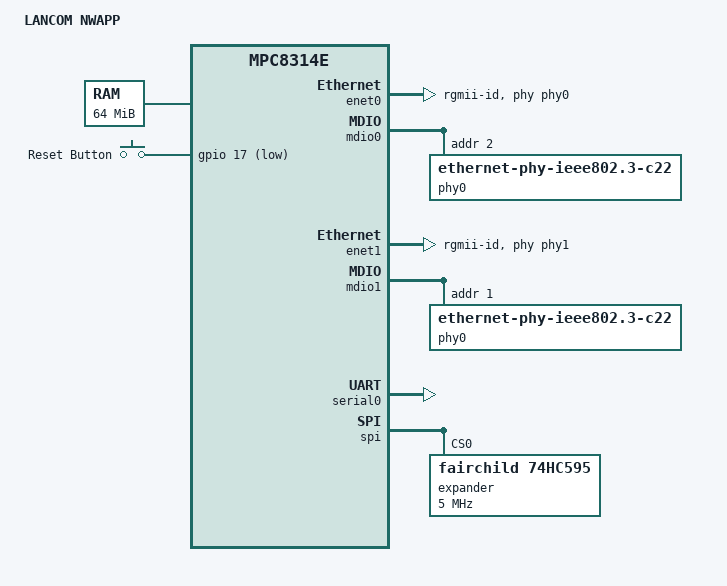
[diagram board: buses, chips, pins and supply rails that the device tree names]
// SPDX-License-Identifier: GPL-2.0-or-later
// Copyright 2026 J. Neuschäfer
//
// LANCOM NWAPP, marketed as:
// - L-320agn Wireless
// - L-321agn Wireless
// - L-322agn dual Wireless
#include "mpc8314e.dtsi"

#include <dt-bindings/gpio/gpio.h>
#include <dt-bindings/leds/common.h>
#include <dt-bindings/input/input.h>

/ {
	compatible = "lancom,nwapp", "fsl,mpc8314e";
	model = "LANCOM NWAPP";

	memory@0 {
		reg = <0x00000000 0x04000000>;	// 64MB at 0
	};

	aliases {
		serial0 = &serial0;
		pci1 = &pci1;
		pci2 = &pci2;
	};

	chosen {
		stdout-path = "serial0:115200n8";
	};

	/*
	gpio-restart {
		compatible = "gpio-restart";
		gpios = <&gpio 10 GPIO_ACTIVE_HIGH>;
	};
	*/

	gpio-keys {
		compatible = "gpio-keys";

		reset-button {
			label = "Reset Button";
			linux,code = <KEY_SETUP>;
			gpios = <&gpio 17 GPIO_ACTIVE_LOW>;
		};
	};

	/*
	gpio-leds {
		compatible = "gpio-leds";

		led_power_red: led-0 {
			label = "red:power";
			gpios = <&expander 0 GPIO_ACTIVE_HIGH>;
			color = <LED_COLOR_ID_RED>;
		};

		led_power_green: led-1 {
			label = "green:power";
			gpios = <&expander 1 GPIO_ACTIVE_HIGH>;
			color = <LED_COLOR_ID_GREEN>;
		};

		led_wlan_link_red: led-2 {
			label = "red:wlan-link";
			gpios = <&expander 2 GPIO_ACTIVE_LOW>;
			color = <LED_COLOR_ID_RED>;
		};

		led_wlan_link_green: led-3 {
			label = "green:wlan-link";
			gpios = <&expander 3 GPIO_ACTIVE_LOW>;
			color = <LED_COLOR_ID_GREEN>;
		};

		led_wlan_data_red: led-4 {
			label = "red:wlan-data";
			gpios = <&expander 4 GPIO_ACTIVE_HIGH>;
			color = <LED_COLOR_ID_RED>;
		};

		led_eth_red: led-10 {
			label = "red:eth";
			gpios = <&expander 10 GPIO_ACTIVE_HIGH>;
			color = <LED_COLOR_ID_RED>;
		};

		led_power_top_red: led-12 {
			label = "red:power-top";
			gpios = <&expander 12 GPIO_ACTIVE_LOW>;
			color = <LED_COLOR_ID_RED>;
		};

		led_power_top_green: led-13 {
			label = "green:power-top";
			gpios = <&expander 13 GPIO_ACTIVE_LOW>;
			color = <LED_COLOR_ID_GREEN>;
		};

		led_wlan_top_red: led-14 {
			label = "red:wlan-top";
			gpios = <&expander 14 GPIO_ACTIVE_LOW>;
			color = <LED_COLOR_ID_RED>;
		};

		led_wlan_top_green: led-15 {
			label = "green:wlan-top";
			gpios = <&expander 15 GPIO_ACTIVE_LOW>;
			color = <LED_COLOR_ID_GREEN>;
		};
	};

	multi-led-power {
		compatible = "leds-group-multicolor";
		label = "multicolor:power";
		color = <LED_COLOR_ID_MULTI>;
		function = LED_FUNCTION_POWER;
		leds = <&led_power_red>, <&led_power_green>;
	};

	multi-led-wlan-link {
		compatible = "leds-group-multicolor";
		label = "multicolor:wlan-link";
		color = <LED_COLOR_ID_MULTI>;
		function = LED_FUNCTION_WLAN;
		leds = <&led_wlan_link_red>, <&led_wlan_link_green>;
	};

	multi-led-wlan-data {
		compatible = "leds-group-multicolor";
		label = "multicolor:wlan-data";
		color = <LED_COLOR_ID_MULTI>;
		leds = <&led_wlan_data_red>;
	};

	multi-led-eth {
		compatible = "leds-group-multicolor";
		label = "multicolor:eth";
		color = <LED_COLOR_ID_MULTI>;
		leds = <&led_eth_red>;
	};

	multi-led-power-top {
		compatible = "leds-group-multicolor";
		label = "multicolor:power-top";
		color = <LED_COLOR_ID_MULTI>;
		function = LED_FUNCTION_POWER;
		leds = <&led_power_top_red>, <&led_power_top_green>;
	};

	multi-led-wlan-top {
		compatible = "leds-group-multicolor";
		label = "multicolor:wlan-top";
		color = <LED_COLOR_ID_MULTI>;
		leds = <&led_wlan_top_red>, <&led_wlan_top_green>;
	};
	*/
};

&gpio {
	//gpio-line-names =
};

/* "ETH 2" */
&enet0 {
	status = "okay";
	phy-handle = <&phy0>;
	//phy-mode = "mii";
	phy-mode = "rgmii-id";
};

&mdio0 {
	compatible = "fsl,gianfar-mdio";
	status = "okay";

	phy0: ethernet-phy@2 {
		/* Marvell 88E3018-NNC1 */
		// TODO: requires additional driver support
		compatible = "ethernet-phy-ieee802.3-c22"; // ?
		reg = <2>;
	};
};

&enet1 {
	status = "okay";
	phy-handle = <&phy1>;
	phy-mode = "rgmii-id";
};

&mdio1 {
	compatible = "fsl,gianfar-mdio";
	status = "okay";

	phy0: ethernet-phy@1 {
		/* Marvell 88E1116-NNC1 */
		compatible = "ethernet-phy-ieee802.3-c22";
		reg = <1>;
	};
};

/*
&pci1 {
	status = "okay";
	ranges = <0x02000000 0 0x88000000 0x88000000 0 0x02000000>,
		 <0x01000000 0 0x00000000 0xc9080000 0 0x00800000>;
};

&pci2 {
	status = "okay";
	ranges = <0x02000000 0 0x88000000 0x8c000000 0 0x02000000>,
		 <0x01000000 0 0x00000000 0xc9900000 0 0x00800000>;
};
*/

&serial0 {
	status = "okay";
};

&spi {
	status = "okay";

	expander: gpio-controller@0 {
		compatible = "fairchild,74hc595"; /* TI CD74HC164 */
		reg = <0>;
		spi-max-frequency = <5000000>;
		gpio-controller;
		#gpio-cells = <2>;
		registers-number = <2>;
	};
};
